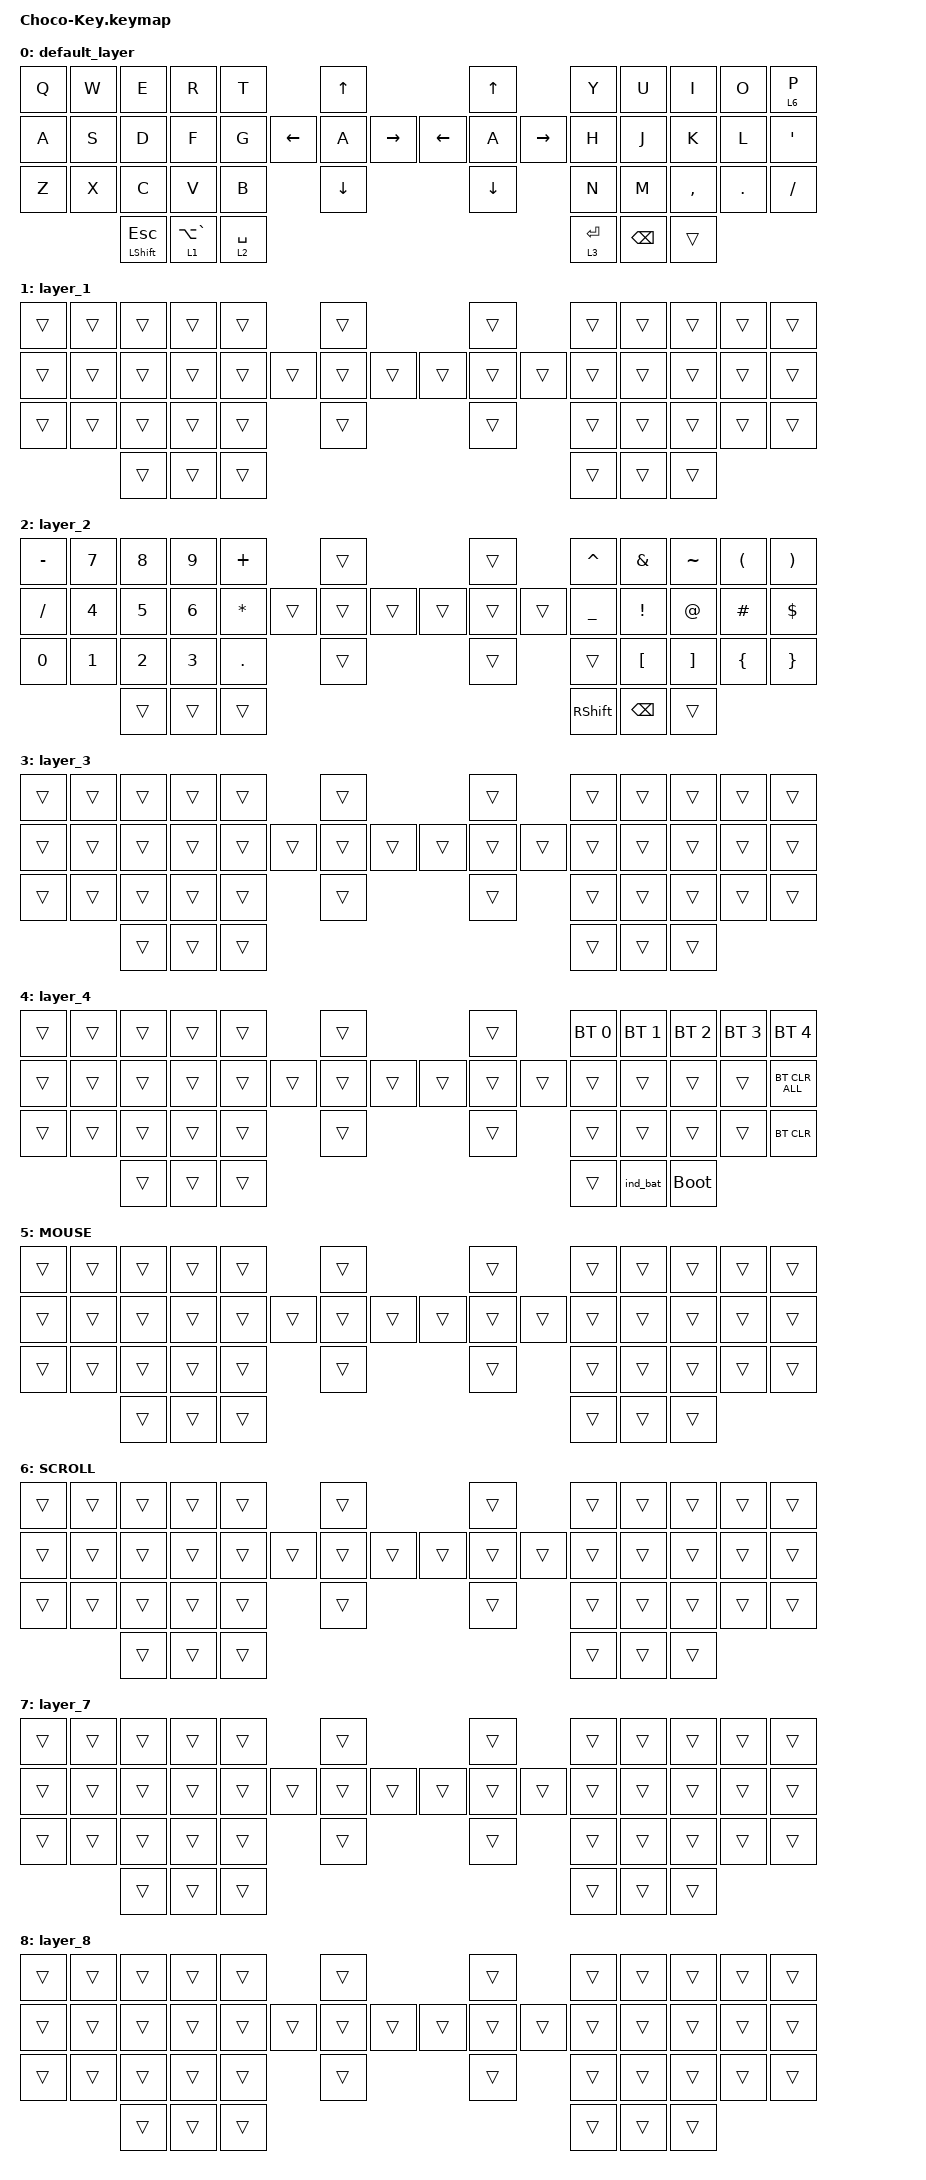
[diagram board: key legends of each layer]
#include <behaviors.dtsi>
#include <dt-bindings/zmk/bt.h>
#include <dt-bindings/zmk/keys.h>
#include <dt-bindings/zmk/pointing.h>
#include <behaviors/rgbled_widget.dtsi>

#define ZMK_POINTING_DEFAULT_SCRL_VAL 100
#define MOUSE 5
#define SCROLL 6

&mt {
    flavor = "balanced";
    quick-tap-ms = <0>;
};

&trackball_split_L {
    gesture_7 {
        layers = <7>;
        bindings =
            <&kp E>,
            <&kp F>,
            <&kp G>,
            <&kp H>;
        tick = <10>;
        wait-ms = <5>;
        tap-ms = <5>;
    };

    gesture_8 {
        layers = <8>;
        bindings =
            <&kp I>,
            <&kp J>,
            <&kp K>,
            <&kp L>;
        tick = <10>;
        wait-ms = <5>;
        tap-ms = <5>;
    };
};

/ {
    combos { compatible = "zmk,combos"; };

    macros {
        to_layer_0: to_layer_0 {
            compatible = "zmk,behavior-macro-one-param";
            #binding-cells = <1>;
            bindings = <&to 0 &macro_param_1to1 &kp MACRO_PLACEHOLDER>;
            label = "TO_LAYER_0";
        };
    };

    behaviors {
        lt_to_layer_0: lt_to_layer_0 {
            compatible = "zmk,behavior-hold-tap";
            label = "LAYER_TAP_TO_0";
            bindings = <&mo>, <&to_layer_0>;

            #binding-cells = <2>;
            tapping-term-ms = <200>;
        };  
    };

    keymap {
        compatible = "zmk,keymap";

        default_layer {
            bindings = <
&kp Q      &kp W  &kp E                  &kp R            &kp T                        &kp UP_ARROW                                       &kp UP_ARROW                     &kp Y        &kp U          &kp I      &kp O    &lt 6 P
&kp A      &kp S  &kp D                  &kp F            &kp G        &kp LEFT_ARROW  &kp A           &kp RIGHT_ARROW    &kp LEFT_ARROW  &kp A           &kp RIGHT_ARROW  &kp H        &kp J          &kp K      &kp L    &kp SQT
&kp Z      &kp X  &kp C                  &kp V            &kp B                        &kp DOWN_ARROW                                     &kp DOWN_ARROW                   &kp N        &kp M          &kp COMMA  &kp DOT  &kp SLASH
                  &mt LEFT_SHIFT ESCAPE  &lt 1 LA(GRAVE)  &lt 2 SPACE                                                                                                      &lt 3 ENTER  &kp BACKSPACE  &trans                           
            >;
        };

        layer_1 {
            bindings = <
&trans  &trans  &trans  &trans  &trans          &trans                    &trans          &trans  &trans  &trans  &trans  &trans
&trans  &trans  &trans  &trans  &trans  &trans  &trans  &trans    &trans  &trans  &trans  &trans  &trans  &trans  &trans  &trans
&trans  &trans  &trans  &trans  &trans          &trans                    &trans          &trans  &trans  &trans  &trans  &trans
                &trans  &trans  &trans                                                    &trans  &trans  &trans                        
            >;
        };

        layer_2 {
            bindings = <
&kp MINUS     &kp NUMBER_7  &kp NUMBER_8  &kp NUMBER_9  &kp PLUS              &trans                    &trans          &kp CARET        &kp AMPERSAND     &kp TILDE          &kp LEFT_PARENTHESIS  &kp RIGHT_PARENTHESIS
&kp SLASH     &kp NUMBER_4  &kp NUMBER_5  &kp NUMBER_6  &kp ASTERISK  &trans  &trans  &trans    &trans  &trans  &trans  &kp UNDERSCORE   &kp EXCLAMATION   &kp AT_SIGN        &kp HASH              &kp DOLLAR            
&kp NUMBER_0  &kp NUMBER_1  &kp NUMBER_2  &kp NUMBER_3  &kp PERIOD            &trans                    &trans          &trans           &kp LEFT_BRACKET  &kp RIGHT_BRACKET  &kp LEFT_BRACE        &kp RIGHT_BRACE       
                            &trans        &trans        &trans                                                          &kp RIGHT_SHIFT  &kp BACKSPACE     &trans                                                         
            >;
        };

        layer_3 {
            bindings = <
&trans  &trans  &trans  &trans  &trans                  &trans                    &trans                  &trans  &trans  &trans  &trans  &trans
&trans  &trans  &trans  &trans  &trans          &trans  &trans  &trans    &trans  &trans  &trans          &trans  &trans  &trans  &trans  &trans
&trans  &trans  &trans  &trans  &trans                  &trans                    &trans                  &trans  &trans  &trans  &trans  &trans
                        &trans  &trans  &trans                                                    &trans  &trans  &trans                        
            >;
        };

        layer_4 {
            bindings = <
&trans  &trans  &trans  &trans  &trans          &trans                    &trans          &bt BT_SEL 0  &bt BT_SEL 1  &bt BT_SEL 2  &bt BT_SEL 3  &bt BT_SEL 4
&trans  &trans  &trans  &trans  &trans  &trans  &trans  &trans    &trans  &trans  &trans  &trans        &trans        &trans        &trans        &bt BT_CLR_ALL
&trans  &trans  &trans  &trans  &trans          &trans                    &trans          &trans        &trans        &trans        &trans        &bt BT_CLR  
                &trans  &trans  &trans                                                    &trans        &ind_bat      &bootloader                                          
            >;
        };

        MOUSE {
            bindings = <
&trans  &trans  &trans  &trans  &trans          &trans                    &trans          &trans  &trans  &trans  &trans  &trans
&trans  &trans  &trans  &trans  &trans  &trans  &trans  &trans    &trans  &trans  &trans  &trans  &trans  &trans  &trans  &trans
&trans  &trans  &trans  &trans  &trans          &trans                    &trans          &trans  &trans  &trans  &trans  &trans
                &trans  &trans  &trans                                                    &trans  &trans  &trans 
            >;
        };

        SCROLL {
            bindings = <
&trans  &trans  &trans  &trans  &trans          &trans                    &trans          &trans  &trans  &trans  &trans  &trans
&trans  &trans  &trans  &trans  &trans  &trans  &trans  &trans    &trans  &trans  &trans  &trans  &trans  &trans  &trans  &trans
&trans  &trans  &trans  &trans  &trans          &trans                    &trans          &trans  &trans  &trans  &trans  &trans
                &trans  &trans  &trans                                                    &trans  &trans  &trans 
            >;
        };

        layer_7 {
            bindings = <
&trans  &trans  &trans  &trans  &trans          &trans                    &trans          &trans  &trans  &trans  &trans  &trans
&trans  &trans  &trans  &trans  &trans  &trans  &trans  &trans    &trans  &trans  &trans  &trans  &trans  &trans  &trans  &trans
&trans  &trans  &trans  &trans  &trans          &trans                    &trans          &trans  &trans  &trans  &trans  &trans
                &trans  &trans  &trans                                                    &trans  &trans  &trans 
            >;
        };

        layer_8 {
            bindings = <
&trans  &trans  &trans  &trans  &trans          &trans                    &trans          &trans  &trans  &trans  &trans  &trans
&trans  &trans  &trans  &trans  &trans  &trans  &trans  &trans    &trans  &trans  &trans  &trans  &trans  &trans  &trans  &trans
&trans  &trans  &trans  &trans  &trans          &trans                    &trans          &trans  &trans  &trans  &trans  &trans
                &trans  &trans  &trans                                                    &trans  &trans  &trans                        
            >;
        };
    };
};
